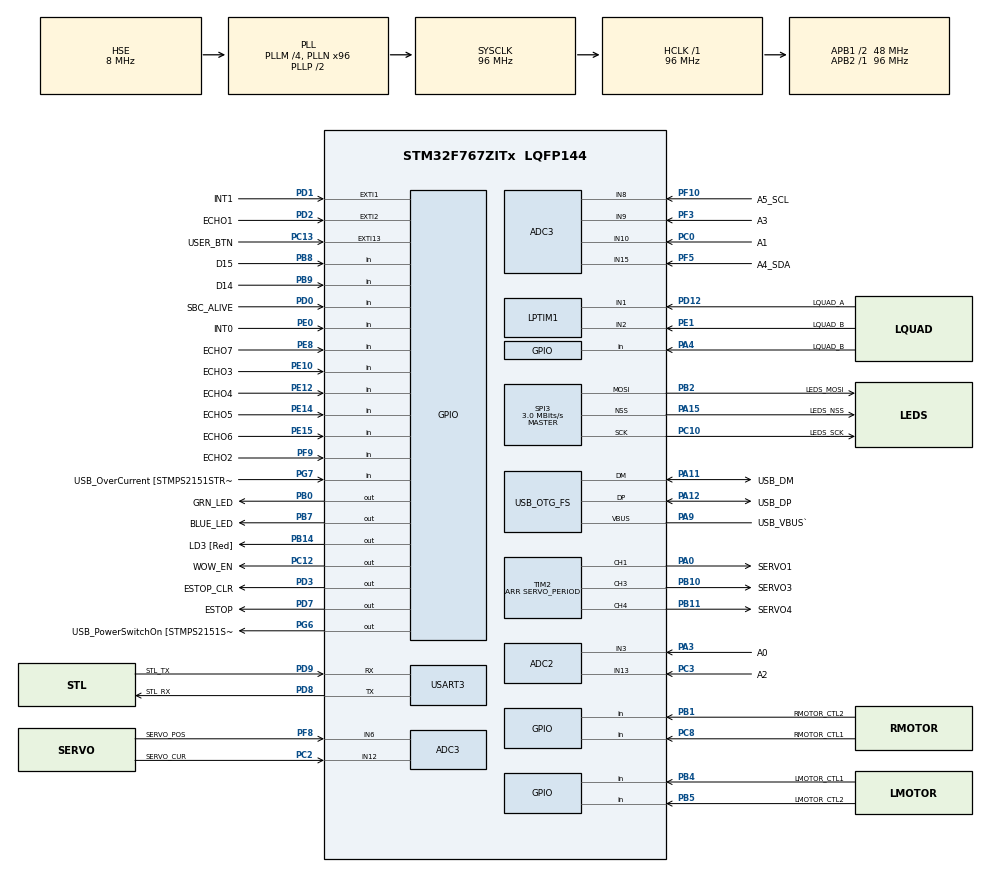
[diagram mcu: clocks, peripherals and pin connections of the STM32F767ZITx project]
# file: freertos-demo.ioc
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PD12.GPIO_Label=LQUAD_A
VP_SYS_VS_tim6.Mode=TIM6
SPI3.Direction=SPI_DIRECTION_2LINES
SPI3.VirtualType=VM_MASTER
NVIC.TIM6_DAC_IRQn=true\:0\:0\:false\:false\:true\:false\:false\:true
PC12.Signal=GPIO_Output
PB14.GPIO_Label=LD3 [Red]
PG6.GPIO_Label=USB_PowerSwitchOn [STMPS2151STR_EN]
PA14.GPIO_Label=SWCLK
PC6.GPIO_Label=RQUAD_A
PA6.GPIO_Label=D12_MISO
PB6.GPIO_Label=SBC_RX
PB13.Signal=UART5_TX
PD6.GPIO_Label=WOW_TX
PG13.Signal=ETH_TXD0
PE6.GPIO_Label=DIO_MOSI
RCC.SYSCLKSource=RCC_SYSCLKSOURCE_PLLCLK
USART3.VirtualMode-Asynchronous=VM_ASYNC
PF7.Signal=UART7_TX
SPI3.VirtualNSS=VM_NSSHARD
RCC.APB2TimFreq_Value=96000000
PB6.Signal=USART1_TX
PC7.Signal=S_TIM8_CH2
PH1/OSC_OUT.Signal=RCC_OSC_OUT
PC3.Signal=ADCx_IN13
PD0.Signal=GPIO_Input
PD8.Signal=USART3_TX
PE5.Signal=SPI4_MISO
PE1.Signal=LPTIM1_IN2
PF10.GPIO_Label=A5_SCL
PB2.Signal=SPI3_MOSI
PF1.GPIO_Label=MISC_SCL
PD1.GPIO_Label=INT1
PB12.GPIO_Label=LIDAR_TX
PC4.GPIO_Label=RMII_RXD0 [LAN8742A-CZ-TR_RXD0]
PE9.Signal=S_TIM1_CH1
PB1.GPIO_Label=RMOTOR_CTL2
PE4.GPIO_Label=DIO_NSS
SH.S_TIM4_CH2.0=TIM4_CH2
PE2.Signal=SPI4_SCK
PF8.Mode=IN6
PA8.Signal=I2C3_SCL
PF3.Signal=ADC3_IN9
PE10.Signal=GPIO_Input
Mcu.Package=LQFP144
PB9.Signal=GPIO_Input
TIM2.Prescaler=SERVO_PRESCALER
PB1.Signal=GPIO_Input
NVIC.TimeBase=TIM6_DAC_IRQn
SPI3.Mode=SPI_MODE_MASTER
PD12.Signal=LPTIM1_IN1
ADC3.Rank-0\#ChannelRegularConversion=1
NVIC.TimeBaseIP=TIM6
PA10.Signal=USB_OTG_FS_ID
PE12.GPIO_Label=ECHO4
RCC.APB1TimFreq_Value=96000000
PF10.Mode=IN8
PE10.GPIO_Label=ECHO3
PA4.GPIO_Label=LQUAD_B
PD15.Signal=S_TIM4_CH4
FREERTOS.Tasks01=defaultTask,24,128,StartDefaultTask,Default,NULL,Dynamic,NULL,NULL
PD9.GPIO_Label=STL_TX
PG9.Signal=USART6_RX
PC13.Signal=GPXTI13
PA9.GPIO_Label=USB_VBUS`
PD3.Signal=GPIO_Output
PE1.Mode=Encoder_mode_occur1
PC2.Signal=ADCx_IN12
PC6.Signal=S_TIM8_CH1
PB11.GPIO_Label=SERVO4
PD7.Signal=GPIO_Output
PD1.Signal=GPXTI1
PA11.GPIO_Label=USB_DM
PC0.Signal=ADCx_IN10
RCC.APB1CLKDivider=RCC_HCLK_DIV2
PG13.GPIO_Label=RMII_TXD0 [LAN8742A-CZ-TR_TXD0]
SH.S_TIM8_CH2.0=TIM8_CH2
PF8.GPIO_Label=SERVO_POS
PB8.GPIO_Label=D15
PE8.GPIO_Label=ECHO7
PA9.Signal=USB_OTG_FS_VBUS
PB4.GPIO_PuPd=GPIO_PULLDOWN
PE9.GPIO_Label=D6_PWM
PD8.Mode=Asynchronous
PB10.Signal=S_TIM2_CH3
PB14.Signal=GPIO_Output
PA5.Signal=SPI1_SCK
PD7.PinState=GPIO_PIN_RESET
SH.S_TIM8_CH1.0=TIM8_CH1
PE1.GPIO_Label=LQUAD_B
PE14.Signal=GPIO_Input
PE15.Signal=GPIO_Input
PB4.GPIO_Label=LMOTOR_CTL1
RCC.PRESCALERUSB=RCC_USBCLKSOURCE_PLL_DIV1_5
PB15.GPIO_Label=SBC_TX
PE8.Signal=GPIO_Input
PG7.GPIO_Label=USB_OverCurrent [STMPS2151STR_FAULT]
PA1.GPIO_Label=RMII_REF_CLK [LAN8742A-CZ-TR_REFCLK0]
PA0/WKUP.GPIO_Label=SERVO1
TIM2.Period=SERVO_PERIOD
PA13.Mode=Serial_Wire
PG14.GPIO_Label=D1_TX
PC7.GPIO_Label=RQUAD_B
PC8.GPIO_PuPd=GPIO_PULLDOWN
PA4.Signal=GPIO_Input
PB5.Signal=GPIO_Input
PE13.GPIO_Label=D3_PWM
PD12.Mode=Encoder_mode_occur1
PA5.GPIO_Label=D13_SCK
ADC2.NbrOfConversionFlag=1
PB5.GPIO_PuPd=GPIO_PULLDOWN
PE5.GPIO_Label=DIO_MOSO
PC12.GPIO_Label=WOW_EN
PA11.Signal=USB_OTG_FS_DM
SH.S_TIM2_CH1_ETR.0=TIM2_CH1,PWM Generation1 CH1
ProjectManager.HeapSize=0x200
PF9.Signal=GPIO_Input
NVIC.PriorityGroup=NVIC_PRIORITYGROUP_4
PF0.GPIO_Label=MISC_SDA
PC3.GPIO_Label=A2
PC15/OSC32_OUT.Signal=RCC_OSC32_OUT
PD2.Signal=GPXTI2
PB0.Signal=GPIO_Output
PC1.Signal=ETH_MDC
PD2.GPIO_Label=ECHO1
Mcu.Family=STM32F7
RCC.CortexFreq_Value=96000000
PG6.Signal=GPIO_Output
ADC2.Channel-0\#ChannelRegularConversion=ADC_CHANNEL_13
PE11.GPIO_Label=D5_PWM
PC10.Signal=SPI3_SCK
RCC.SYSCLKSourceVirtual=RCC_SYSCLKSOURCE_PLLCLK
PB2.GPIO_Speed=GPIO_SPEED_FREQ_VERY_HIGH
PC0.GPIO_Label=A1
PD0.GPIO_Label=SBC_ALIVE
PA11.Mode=Device_Only
PA0/WKUP.Signal=S_TIM2_CH1_ETR
PC14/OSC32_IN.Mode=LSE-External-Oscillator
PB0.GPIO_Label=GRN_LED
PC10.GPIO_Speed=GPIO_SPEED_FREQ_VERY_HIGH
PC13.GPIO_Label=USER_BTN
PB13.GPIO_Label=LIDAR_RX
PB11.Signal=S_TIM2_CH4
PB15.Signal=USART1_RX
ADC3.Channel-0\#ChannelRegularConversion=ADC_CHANNEL_9
PD9.Mode=Asynchronous
PG11.Signal=ETH_TX_EN
ProjectManager.StackSize=0x400
VP_FREERTOS_VS_CMSIS_V2.Mode=CMSIS_V2
PD13.Signal=S_TIM4_CH2
PA15.GPIO_Label=LEDS_NSS
PA12.Signal=USB_OTG_FS_DP
Mcu.UserConstants=MTR_PWM_PERIOD,1280;SERVO_PERIOD,20000;SERVO_PRESCALER,96
PH0/OSC_IN.Mode=HSE-External-Clock-Source
PB1.GPIO_PuPd=GPIO_PULLDOWN
RCC.HCLKFreq_Value=96000000
SH.ADCx_IN3.0=ADC2_IN3,IN3
RCC.AHBFreq_Value=96000000
SPI3.DataSize=SPI_DATASIZE_16BIT
RCC.HSE_VALUE=8000000
PA15.Mode=NSS_Signal_Hard_Output
RCC.PLLMUL=RCC_PLL_MUL9
PE13.Signal=S_TIM1_CH3
PF7.GPIO_Label=FPGA_RX
PA14.Mode=Serial_Wire
PC11.GPIO_Label=LEDS_MISO
PA10.GPIO_Label=USB_ID
PB7.Signal=GPIO_Output
TIM2.Channel-PWM\ Generation1\ CH1=TIM_CHANNEL_1
PH1/OSC_OUT.Mode=HSE-External-Clock-Source
PE4.Signal=SPI4_NSS
PD7.GPIO_Label=ESTOP
PB7.GPIO_Label=BLUE_LED
PD13.GPIO_Label=LIDAR_PWM
PA6.Signal=SPI1_MISO
PC14/OSC32_IN.Signal=RCC_OSC32_IN
PD5.GPIO_Label=WOW_RX
PA2.GPIO_Label=RMII_MDIO [LAN8742A-CZ-TR_MDIO]
PF5.GPIO_Label=A4_SDA
USB_OTG_FS.VirtualMode=Device_Only
PA15.Signal=SPI3_NSS
PF8.Signal=ADC3_IN6
ADC2.SamplingTime-0\#ChannelRegularConversion=ADC_SAMPLETIME_3CYCLES
PE0.GPIO_Label=INT0
PF5.Signal=ADC3_IN15
PB5.GPIO_Label=LMOTOR_CTL2
PG11.GPIO_Label=RMII_TX_EN [LAN8742A-CZ-TR_TXEN]
PF0.Signal=I2C2_SDA
PC5.Signal=ETH_RXD1
PD3.GPIO_Label=ESTOP_CLR
PE7.Signal=UART7_RX
ADC2.Rank-0\#ChannelRegularConversion=1
PD6.Signal=USART2_RX
PF3.GPIO_Label=A3
PE2.GPIO_Label=DIO_SCK
PC2.GPIO_Label=SERVO_CUR
PB4.Signal=GPIO_Input
PA3.Signal=ADCx_IN3
PB3.GPIO_Label=SERVO2
TIM2.Channel-PWM\ Generation4\ CH4=TIM_CHANNEL_4
SH.ADCx_IN13.0=ADC2_IN13,IN13
PD15.GPIO_Label=D9_PWM
PG7.Signal=GPIO_Input
PF3.Mode=IN9
PB9.GPIO_Label=D14
PC10.GPIO_Label=LEDS_SCK
PC9.GPIO_Label=A4_SDA
SH.S_TIM4_CH4.0=TIM4_CH4
PC11.Signal=SPI3_MISO
PC8.Signal=GPIO_Input
PC4.Signal=ETH_RXD0
PC10.Mode=TX_Only_Simplex_Unidirect_Master
PE14.GPIO_Label=ECHO5
PD9.Signal=USART3_RX
PD5.Signal=USART2_TX
PA12.GPIO_Label=USB_DP
PF5.Mode=IN15
PD8.GPIO_Label=STL_RX
PC8.GPIO_Label=RMOTOR_CTL1
PA13.Signal=SYS_JTMS-SWDIO
SH.S_TIM2_CH2.0=TIM2_CH2
PA9.Mode=Activate_VBUS
SH.ADCx_IN12.0=ADC3_IN12,IN12
ADC3.SamplingTime-0\#ChannelRegularConversion=ADC_SAMPLETIME_3CYCLES
SH.S_TIM1_CH1.0=TIM1_CH1
PE15.GPIO_Label=ECHO6
ProjectManager.TargetToolchain=STM32CubeIDE
PB10.GPIO_Label=SERVO3
SH.S_TIM4_CH3.0=TIM4_CH3
RCC.USBFreq_Value=48000000
PF9.GPIO_Label=ECHO2
PE11.Signal=S_TIM1_CH2
PA1.Signal=ETH_REF_CLK
PG9.GPIO_Label=D0_RX
PG14.Signal=USART6_TX
board=NUCLEO-F767ZI
RCC.VCOOutputFreq_Value=192000000
PH0/OSC_IN.Signal=RCC_OSC_IN
RCC.APB2Freq_Value=96000000
SPI3.CalculateBaudRate=3.0 MBits/s
SH.S_TIM1_CH2.0=TIM1_CH2
VP_TIM2_VS_ClockSourceINT.Mode=Internal
SH.S_TIM2_CH3.0=TIM2_CH3,PWM Generation3 CH3
PF10.Signal=ADC3_IN8
SPI3.BaudRatePrescaler=SPI_BAUDRATEPRESCALER_16
PC1.GPIO_Label=RMII_MDC [LAN8742A-CZ-TR_MDC]
TIM2.Channel-PWM\ Generation3\ CH3=TIM_CHANNEL_3
PD14.GPIO_Label=D10_PWM_NSS
PF1.Signal=I2C2_SCL
PE6.Signal=SPI4_MOSI
Mcu.Name=STM32F767ZITx
PE0.Signal=GPIO_Input
PE7.GPIO_Label=FPGA_TX
PE12.Signal=GPIO_Input
PA2.Signal=ETH_MDIO
PA13.GPIO_Label=SWDIO
PD14.Signal=S_TIM4_CH3
RCC.48MHZClocksFreq_Value=24000000
PB3.Signal=S_TIM2_CH2
RCC.SYSCLKFreq_VALUE=96000000
PA7.GPIO_Label=D11_PWM_MOSI
PA12.Mode=Device_Only
PC5.GPIO_Label=RMII_RXD1 [LAN8742A-CZ-TR_RXD1]
PC15/OSC32_OUT.Mode=LSE-External-Oscillator
PB2.Mode=TX_Only_Simplex_Unidirect_Master
PA15.GPIO_Speed=GPIO_SPEED_FREQ_VERY_HIGH
PA14.Signal=SYS_JTCK-SWCLK
SH.ADCx_IN10.0=ADC3_IN10,IN10
PB2.GPIO_Label=LEDS_MOSI
SH.S_TIM2_CH4.0=TIM2_CH4,PWM Generation4 CH4
SH.S_TIM1_CH3.0=TIM1_CH3
RCC.HSI_VALUE=16000000
PH0/OSC_IN.GPIO_Label=MCO [STM32F103CBT6_PA8]
RCC.PLLQ=4
RCC.PLLM=4
RCC.PLLN=96
PB8.Signal=GPIO_Input
PC9.Signal=I2C3_SDA
RCC.APB1Freq_Value=48000000
ADC3.NbrOfConversionFlag=1
PB12.Signal=UART5_RX
PA3.GPIO_Label=A0
PA7.Signal=SPI1_MOSI

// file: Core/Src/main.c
/* USER CODE BEGIN Header */
/**
  ******************************************************************************
  * @file           : main.c
  * @brief          : Main program body
  ******************************************************************************
  * @attention
  *
  * <h2><center>&copy; Copyright (c) 2021 STMicroelectronics.
  * All rights reserved.</center></h2>
  *
  * This software component is licensed by ST under BSD 3-Clause license,
  * the "License"; You may not use this file except in compliance with the
  * License. You may obtain a copy of the License at:
  *                        opensource.org/licenses/BSD-3-Clause
  *
  ******************************************************************************
  */
/* USER CODE END Header */
#include "main.h"
#include "cmsis_os.h"
#include "adc.h"
#include "lptim.h"
#include "spi.h"
#include "tim.h"
#include "usart.h"
#include "usb_otg.h"
#include "gpio.h"

void SystemClock_Config(void);
void MX_FREERTOS_Init(void);

int main(void)
{

  /* MCU Configuration--------------------------------------------------------*/

  /* Reset of all peripherals, Initializes the Flash interface and the Systick. */
  HAL_Init();

  /* Configure the system clock */
  SystemClock_Config();

  /* Initialize all configured peripherals */
  MX_GPIO_Init();
  MX_USART3_UART_Init();
  MX_USB_OTG_FS_PCD_Init();
  MX_ADC2_Init();
  MX_ADC3_Init();
  MX_LPTIM1_Init();
  MX_SPI3_Init();
  MX_TIM2_Init();
  /* USER CODE BEGIN 2 */
  HAL_TIM_PWM_Start(&htim2, TIM_CHANNEL_1);
  /* USER CODE END 2 */

  /* Init scheduler */
  osKernelInitialize();  /* Call init function for freertos objects (in freertos.c) */
  MX_FREERTOS_Init();
  /* Start scheduler */
  osKernelStart();

  /* We should never get here as control is now taken by the scheduler */
  /* Infinite loop */
  while (1)
  {

  }
}

void SystemClock_Config(void)
{
  RCC_OscInitTypeDef RCC_OscInitStruct = {0};
  RCC_ClkInitTypeDef RCC_ClkInitStruct = {0};
  RCC_PeriphCLKInitTypeDef PeriphClkInitStruct = {0};

  /** Configure LSE Drive Capability
  */
  HAL_PWR_EnableBkUpAccess();
  /** Configure the main internal regulator output voltage
  */
  __HAL_RCC_PWR_CLK_ENABLE();
  __HAL_PWR_VOLTAGESCALING_CONFIG(PWR_REGULATOR_VOLTAGE_SCALE3);
  /** Initializes the RCC Oscillators according to the specified parameters
  * in the RCC_OscInitTypeDef structure.
  */
  RCC_OscInitStruct.OscillatorType = RCC_OSCILLATORTYPE_HSE;
  RCC_OscInitStruct.HSEState = RCC_HSE_BYPASS;
  RCC_OscInitStruct.PLL.PLLState = RCC_PLL_ON;
  RCC_OscInitStruct.PLL.PLLSource = RCC_PLLSOURCE_HSE;
  RCC_OscInitStruct.PLL.PLLM = 4;
  RCC_OscInitStruct.PLL.PLLN = 96;
  RCC_OscInitStruct.PLL.PLLP = RCC_PLLP_DIV2;
  RCC_OscInitStruct.PLL.PLLQ = 4;
  if (HAL_RCC_OscConfig(&RCC_OscInitStruct) != HAL_OK)
  {
    Error_Handler();
  }
  /** Activate the Over-Drive mode
  */
  if (HAL_PWREx_EnableOverDrive() != HAL_OK)
  {
    Error_Handler();
  }
  /** Initializes the CPU, AHB and APB buses clocks
  */
  RCC_ClkInitStruct.ClockType = RCC_CLOCKTYPE_HCLK|RCC_CLOCKTYPE_SYSCLK
                              |RCC_CLOCKTYPE_PCLK1|RCC_CLOCKTYPE_PCLK2;
  RCC_ClkInitStruct.SYSCLKSource = RCC_SYSCLKSOURCE_PLLCLK;
  RCC_ClkInitStruct.AHBCLKDivider = RCC_SYSCLK_DIV1;
  RCC_ClkInitStruct.APB1CLKDivider = RCC_HCLK_DIV2;
  RCC_ClkInitStruct.APB2CLKDivider = RCC_HCLK_DIV1;

  if (HAL_RCC_ClockConfig(&RCC_ClkInitStruct, FLASH_LATENCY_3) != HAL_OK)
  {
    Error_Handler();
  }
  PeriphClkInitStruct.PeriphClockSelection = RCC_PERIPHCLK_USART3|RCC_PERIPHCLK_LPTIM1
                              |RCC_PERIPHCLK_CLK48;
  PeriphClkInitStruct.Usart3ClockSelection = RCC_USART3CLKSOURCE_PCLK1;
  PeriphClkInitStruct.Lptim1ClockSelection = RCC_LPTIM1CLKSOURCE_PCLK;
  PeriphClkInitStruct.Clk48ClockSelection = RCC_CLK48SOURCE_PLL;
  if (HAL_RCCEx_PeriphCLKConfig(&PeriphClkInitStruct) != HAL_OK)
  {
    Error_Handler();
  }
}

 /**
  * @brief  Period elapsed callback in non blocking mode
  * @note   This function is called  when TIM6 interrupt took place, inside
  * HAL_TIM_IRQHandler(). It makes a direct call to HAL_IncTick() to increment
  * a global variable "uwTick" used as application time base.
  * @param  htim : TIM handle
  * @retval None
  */
void HAL_TIM_PeriodElapsedCallback(TIM_HandleTypeDef *htim)
{
  if (htim->Instance == TIM6) {
    HAL_IncTick();
  }
}

void Error_Handler(void)
{
  __disable_irq();
  while (1)
  {
  }
}

/************************ (C) COPYRIGHT STMicroelectronics *****END OF FILE****/

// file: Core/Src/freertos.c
/* USER CODE BEGIN Header */
/**
  ******************************************************************************
  * File Name          : freertos.c
  * Description        : Code for freertos applications
  ******************************************************************************
  * @attention
  *
  * <h2><center>&copy; Copyright (c) 2021 STMicroelectronics.
  * All rights reserved.</center></h2>
  *
  * This software component is licensed by ST under Ultimate Liberty license
  * SLA0044, the "License"; You may not use this file except in compliance with
  * the License. You may obtain a copy of the License at:
  *                             www.st.com/SLA0044
  *
  ******************************************************************************
  */
/* USER CODE END Header */

#include "FreeRTOS.h"
#include "task.h"
#include "main.h"
#include "cmsis_os.h"

/* USER CODE BEGIN Includes */
#include "spi.h"
#include "tim.h"
/* USER CODE END Includes */

/* Definitions for defaultTask */
osThreadId_t defaultTaskHandle;
const osThreadAttr_t defaultTask_attributes = {
  .name = "defaultTask",
  .stack_size = 128 * 4,
  .priority = (osPriority_t) osPriorityNormal,
};

/* USER CODE BEGIN FunctionPrototypes */
osThreadId_t ledsTaskHandle;
const osThreadAttr_t ledsTask_attributes = {
  .name = "ledsTask",
  .stack_size = 128 * 4,
  .priority = (osPriority_t) osPriorityNormal,
};

osThreadId_t servoTaskHandle;
const osThreadAttr_t servoTask_attributes = {
  .name = "servoTask",
  .stack_size = 128 * 4,
  .priority = (osPriority_t) osPriorityNormal,
};

void LedsTask(void *argument);
void ServoTask(void *argument);
/* USER CODE END FunctionPrototypes */

void StartDefaultTask(void *argument);

void MX_FREERTOS_Init(void); /* (MISRA C 2004 rule 8.1) */

void MX_FREERTOS_Init(void) {

  /* Create the thread(s) */
  /* creation of defaultTask */
  defaultTaskHandle = osThreadNew(StartDefaultTask, NULL, &defaultTask_attributes);

  /* USER CODE BEGIN RTOS_THREADS */
  /* add threads, ... */
  ledsTaskHandle = osThreadNew(LedsTask, NULL, &ledsTask_attributes);
  servoTaskHandle = osThreadNew(ServoTask, NULL, &servoTask_attributes);
  /* USER CODE END RTOS_THREADS */

}

void StartDefaultTask(void *argument)
{
  /* USER CODE BEGIN StartDefaultTask */
  /* Infinite loop */
  for(;;)
  {
	osDelay(100);
  }
  /* USER CODE END StartDefaultTask */
}

/* USER CODE BEGIN Application */
void LedsTask(void *argument)
{
  uint16_t leds = 0x8000;

  /* Infinite loop */
  for(;;)
  {
	HAL_SPI_Transmit(&hspi3, (uint8_t *)&leds, 1, 1);
	leds >>= 1;
	if (leds == 0)
	  leds = 0x8000;
	osDelay(100);
  }
}

void ServoTask(void *argument)
{
  /* Infinite loop */
  for(;;)
  {
    int i;

    for (i = 1000; i <= 2000; i += 50)
    {
      htim2.Instance->CCR1 = i;
      osDelay(100);
    }

    for (i = 2000; i >= 1000; i -= 50)
    {
      htim2.Instance->CCR1 = i;
      osDelay(100);
    }
  }
}
/* USER CODE END Application */

/************************ (C) COPYRIGHT STMicroelectronics *****END OF FILE****/
